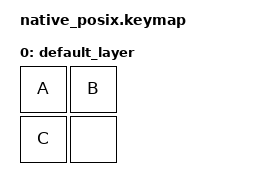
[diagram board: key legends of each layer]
#include <dt-bindings/zmk/keys.h>
#include <behaviors.dtsi>
#include <dt-bindings/zmk/kscan-mock.h>

/* it is useful to set timeout to a large value when attaching a debugger. */
#define TIMEOUT (50)

/ {
	behaviors {

		combo_one {
			compatible = "zmk,behavior-combo";
			label = "COMBO_ONE";
			timeout-ms = <TIMEOUT>;
			key-positions = <0 1 2>;
			bindings = <&kp X>;
		};

		combo_two {
			compatible = "zmk,behavior-combo";
			label = "COMBO_TWO";
			timeout-ms = <TIMEOUT>;
			key-positions = <0 2>;
			bindings = <&kp Y>;
		};

		combo_three {
			compatible = "zmk,behavior-combo";
			label = "COMBO_TWO";
			timeout-ms = <TIMEOUT>;
			key-positions = <1>;
			bindings = <&kp Z>;
		};
	};

	keymap {
		compatible = "zmk,keymap";
		label ="Default keymap";

		default_layer {
			bindings = <
				&kp A &kp B
				&kp C &none
			>;
		};
	};
};

&kscan {
	events = <
		/* if you're debugging these, remember that the timer can be triggered while stepping through code. */
		/* all permutations of combo two press and release, combo triggered by timeout */
		ZMK_MOCK_PRESS(0,0,10) 
		ZMK_MOCK_PRESS(0,2,60) 
		ZMK_MOCK_RELEASE(0,0,10) 
		ZMK_MOCK_RELEASE(0,2,10)

		ZMK_MOCK_PRESS(0,2,10) 
		ZMK_MOCK_PRESS(0,0,60) 
		ZMK_MOCK_RELEASE(0,2,10)
		ZMK_MOCK_RELEASE(0,0,10) 

		ZMK_MOCK_PRESS(0,2,10) 
		ZMK_MOCK_PRESS(0,0,60) 
		ZMK_MOCK_RELEASE(0,0,10) 
		ZMK_MOCK_RELEASE(0,2,10)

		ZMK_MOCK_PRESS(0,0,10)  
		ZMK_MOCK_PRESS(0,2,60) 
		ZMK_MOCK_RELEASE(0,2,10)
		ZMK_MOCK_RELEASE(0,0,10)
	>;
};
